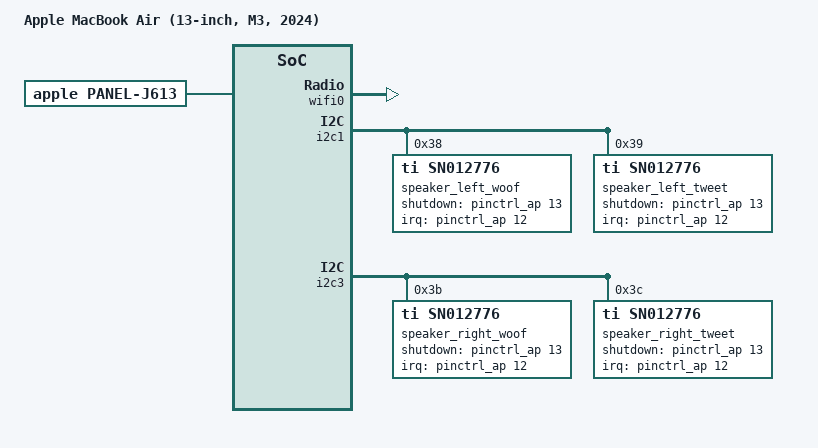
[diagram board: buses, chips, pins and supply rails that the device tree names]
// SPDX-License-Identifier: GPL-2.0+ OR MIT
/*
 * Apple MacBook Air (13-inch, M3, 2024)
 *
 * target-type: J613
 *
 * Copyright The Asahi Linux Contributors
 */

/dts-v1/;

#include "t8122.dtsi"
#include "t8122-j613-j615.dtsi"

/ {
	compatible = "apple,j613", "apple,t8122", "apple,arm-platform";
	model = "Apple MacBook Air (13-inch, M3, 2024)";
};

&dcp {
	panel: panel {
		compatible = "apple,panel-j613", "apple,panel";
		/* 2560x1664 at 224 ppi; 64 notch rows above the desktop. */
		width-mm = <290>;
		height-mm = <189>;
		adj-height-mm = <181>;
		apple,max-brightness = <525>;
	};
};

&wifi0 {
	brcm,board-type = "apple,dnieper";
};

&bluetooth0 {
	brcm,board-type = "apple,dnieper";
};

&aop_audio {
	apple,chassis-name = "J613";
};

&i2c1 {
	speaker_left_woof: codec@38 {
		compatible = "ti,sn012776", "ti,tas2764";
		reg = <0x38>;
		shutdown-gpios = <&pinctrl_ap 13 GPIO_ACTIVE_HIGH>;
		#sound-dai-cells = <0>;
		sound-name-prefix = "Left Woofer";
		interrupts-extended = <&pinctrl_ap 12 IRQ_TYPE_LEVEL_LOW>;
		ti,imon-slot-no = <0>;
		ti,vmon-slot-no = <2>;
	};

	speaker_left_tweet: codec@39 {
		compatible = "ti,sn012776", "ti,tas2764";
		reg = <0x39>;
		shutdown-gpios = <&pinctrl_ap 13 GPIO_ACTIVE_HIGH>;
		#sound-dai-cells = <0>;
		sound-name-prefix = "Left Tweeter";
		interrupts-extended = <&pinctrl_ap 12 IRQ_TYPE_LEVEL_LOW>;
		ti,imon-slot-no = <8>;
		ti,vmon-slot-no = <10>;
	};
};

&i2c3 {
	speaker_right_woof: codec@3b {
		compatible = "ti,sn012776", "ti,tas2764";
		reg = <0x3b>;
		shutdown-gpios = <&pinctrl_ap 13 GPIO_ACTIVE_HIGH>;
		#sound-dai-cells = <0>;
		sound-name-prefix = "Right Woofer";
		interrupts-extended = <&pinctrl_ap 12 IRQ_TYPE_LEVEL_LOW>;
		ti,imon-slot-no = <4>;
		ti,vmon-slot-no = <6>;
	};

	speaker_right_tweet: codec@3c {
		compatible = "ti,sn012776", "ti,tas2764";
		reg = <0x3c>;
		shutdown-gpios = <&pinctrl_ap 13 GPIO_ACTIVE_HIGH>;
		#sound-dai-cells = <0>;
		sound-name-prefix = "Right Tweeter";
		interrupts-extended = <&pinctrl_ap 12 IRQ_TYPE_LEVEL_LOW>;
		ti,imon-slot-no = <12>;
		ti,vmon-slot-no = <14>;
	};
};

/ {
	sound {
		compatible = "apple,j613-macaudio", "apple,j413-macaudio", "apple,macaudio";
		model = "MacBook Air J613";

		dai-link@0 {
			link-name = "Speakers";
			dai-tdm-idle-mode-0 = "zero";
			dai-tdm-idle-mode-2 = "zero";
			dai-tdm-slot-tx-idle-mask-0 = <0x0f0f>;
			dai-tdm-slot-tx-idle-mask-2 = <0xf0f0>;

			cpu {
				sound-dai = <&mca 0>, <&mca 1>;
			};
			codec {
				sound-dai = <&speaker_left_woof>, <&speaker_left_tweet>,
					    <&speaker_right_woof>, <&speaker_right_tweet>;
			};
		};

		dai-link@1 {
			link-name = "Headphone Jack";

			cpu {
				sound-dai = <&mca 2>;
			};
			codec {
				sound-dai = <&jack_codec>;
			};
		};
	};
};

&mtp_mt {
	firmware-name = "apple/tpmtfw-j613.bin";
};

/* ADT spi2/mesa: data-ready on AP GPIO 199. */
&mesa {
	interrupt-parent = <&pinctrl_ap>;
	interrupts = <199 IRQ_TYPE_EDGE_RISING>;
	/* Per-device factory data from this Mac's own iBoot system container. */
	firmware-name = "apple/mesacal-j613.bin";
};

/* The J613 MTP firmware cannot be restarted once quiesced: hand it over running. */
&mtp {
	apple,rtkit-keep-running;
};
